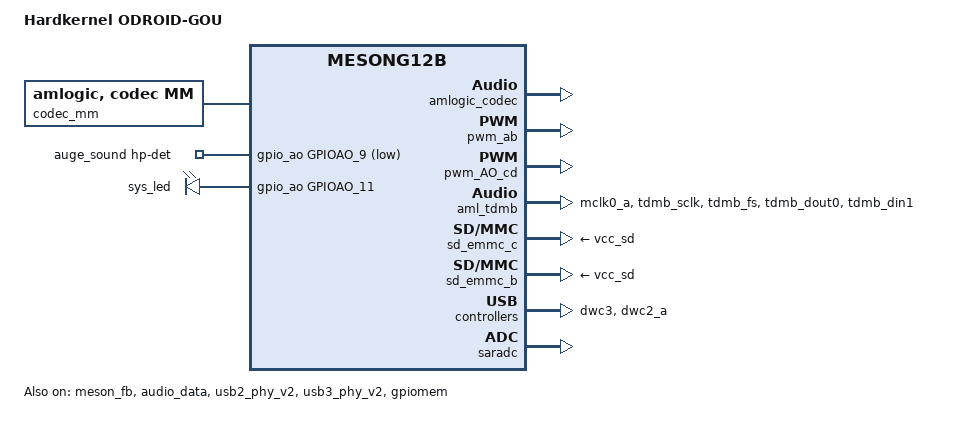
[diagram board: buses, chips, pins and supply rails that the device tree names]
/*
 * arch/arm64/boot/dts/amlogic/meson64_odroidgo5.dts
 *
 * Copyright (C) 2020 Hardkernel Co., Ltd. All rights reserved.
 *
 * This program is free software; you can redistribute it and/or modify
 * it under the terms of the GNU General Public License as published by
 * the Free Software Foundation; either version 2 of the License, or
 * (at your option) any later version.
 *
 * This program is distributed in the hope that it will be useful, but WITHOUT
 * ANY WARRANTY; without even the implied warranty of MERCHANTABILITY or
 * FITNESS FOR A PARTICULAR PURPOSE.  See the GNU General Public License for
 * more details.
 *
 */

/dts-v1/;

#include "mesong12b.dtsi"
#include "meson64_gou_pmic.dtsi"
#include "meson64_gou_panel.dtsi"
#include "meson64_gou_joypad.dtsi"

/ {
	model = "Hardkernel ODROID-GOU";
	compatible = "amlogic, g12b";
	interrupt-parent = <&gic>;
	#address-cells = <2>;
	#size-cells = <2>;

	chosen { };

	aliases {
		serial0 = &uart_AO;
		serial1 = &uart_A;
		serial2 = &uart_B;
		serial3 = &uart_C;
		serial4 = &uart_AO_B;
		i2c0 = &i2c_AO;
		i2c1 = &i2c1;
		i2c2 = &i2c2;
		i2c3 = &i2c3;
		tsensor0 = &p_tsensor;
		tsensor1 = &d_tsensor;
	};

	gpiomem {
		compatible = "amlogic, gpiomem";
		reg = <0x0 0xff634000 0x0 0x1000>,	/* GPIO banks */
			<0x0 0xff800000 0x0 0x1000>;	/* GPIO_AO bank */
		status = "okay";
	};

	reserved-memory {
		#address-cells = <2>;
		#size-cells = <2>;
		ranges;
		/* global autoconfigured region for contiguous allocations */
		ramoops@0x07400000 {
			compatible = "ramoops";
			reg = <0x0 0x07400000 0x0 0x00100000>;
			record-size = <0x8000>;
			console-size = <0x8000>;
			ftrace-size = <0x40000>;
		};

		secmon_reserved:linux,secmon {
			compatible = "shared-dma-pool";
			reusable;
			size = <0x0 0x400000>;
			alignment = <0x0 0x400000>;
			alloc-ranges = <0x0 0x05000000 0x0 0x400000>;
			clear-map;
		};

		secos_reserved:linux,secos {
			status = "disable";
			compatible = "amlogic, aml_secos_memory";
			reg = <0x0 0x05300000 0x0 0x2000000>;
			no-map;
		};
		logo_reserved:linux,meson-fb {
			compatible = "shared-dma-pool";
			reusable;
			size = <0x0 0x800000>;
			alignment = <0x0 0x400000>;
			alloc-ranges = <0x0 0x3d800000 0x0 0x800000>;
		};
		ion_cma_reserved:linux,ion-dev {
			compatible = "shared-dma-pool";
			reusable;
			size = <0x0 0x8000000>;
			alignment = <0x0 0x400000>;
		};

		/*di CMA pool */
		di_cma_reserved:linux,di_cma {
			compatible = "shared-dma-pool";
			reusable;
			/* buffer_size = 3621952(yuv422 8bit)
			 *  | 4736064(yuv422 10bit)
			 *  | 4074560(yuv422 10bit full pack mode)
			 * 10x3621952=34.6M(0x23) support 8bit
			 * 10x4736064=45.2M(0x2e) support 12bit
			 * 10x4074560=40M(0x28) support 10bit
			 */
			size = <0x0 0x02800000>;
			alignment = <0x0 0x400000>;
		};
		/*  POST PROCESS MANAGER */
		ppmgr_reserved:linux,ppmgr {
			compatible = "shared-dma-pool";
			size = <0x0 0x0>;
		};

		codec_mm_cma:linux,codec_mm_cma {
			compatible = "shared-dma-pool";
			reusable;
			/* ion_codec_mm max can alloc size 80M*/
			size = <0x0 0x13400000>;
			alignment = <0x0 0x400000>;
			linux,contiguous-region;
			clear-map;
		};
		/* codec shared reserved */
		codec_mm_reserved:linux,codec_mm_reserved {
			compatible = "amlogic, codec-mm-reserved";
			size = <0x0 0x0>;
			alignment = <0x0 0x100000>;
			//no-map;
		};
	};

	codec_mm {
		compatible = "amlogic, codec, mm";
		memory-region = <&codec_mm_cma &codec_mm_reserved>;
		dev_name = "codec_mm";
		status = "okay";
	};

	ppmgr {
		compatible = "amlogic, ppmgr";
		memory-region = <&ppmgr_reserved>;
		dev_name = "ppmgr";
		status = "okay";
	};

	deinterlace {
		compatible = "amlogic, deinterlace";
		status = "okay";
		/* 0:use reserved; 1:use cma; 2:use cma as reserved */
		flag_cma = <1>;
		memory-region = <&di_cma_reserved>;
		interrupts = <0 46 1
				0 40 1>;
		interrupt-names = "pre_irq", "post_irq";
		clocks = <&clkc CLKID_VPU_CLKB_TMP_COMP>,
			<&clkc CLKID_VPU_CLKB_COMP>;
		clock-names = "vpu_clkb_tmp_composite",
			"vpu_clkb_composite";
		clock-range = <334 667>;
		/* buffer-size = <3621952>;(yuv422 8bit) */
		buffer-size = <4074560>;/*yuv422 fullpack*/
		/* reserve-iomap = "true"; */
		/* if enable nr10bit, set nr10bit-support to 1 */
		post-wr-support = <1>;
		nr10bit-support = <1>;
		nrds-enable = <1>;
		pps-enable = <1>;
	};

	ionvideo {
		compatible = "amlogic, ionvideo";
		dev_name = "ionvideo";
		status = "okay";
	};

	efuse: efuse{
		compatible = "amlogic, efuse";
		read_cmd = <0x82000030>;
		write_cmd = <0x82000031>;
		get_max_cmd = <0x82000033>;
		key = <&efusekey>;
		clocks = <&clkc CLKID_EFUSE>;
		clock-names = "efuse_clk";
		status = "okay";
	};

	efusekey:efusekey{
		keynum = <1>;
		key0 = <&key_0>;

		key_0: key_0 {
			keyname = "uuid";
			offset = <0>;
			size = <32>;
		};
	};//End efusekey

	amlvecm {
		compatible = "amlogic, vecm";
		dev_name = "aml_vecm";
		status = "okay";
		gamma_en = <0>;/*1:enabel ;0:disable*/
		wb_en = <0>;/*1:enabel ;0:disable*/
		cm_en = <0>;/*1:enabel ;0:disable*/
	};
	amdolby_vision {
		compatible = "amlogic, dolby_vision_g12a";
		dev_name = "aml_amdolby_vision_driver";
		status = "okay";
		tv_mode = <0>;/*1:enabel ;0:disable*/
	};

	/* Audio Related start */
	dummy_codec:dummy{
		#sound-dai-cells = <0>;
		compatible = "amlogic, aml_dummy_codec";
		status = "okay";
	};
	amlogic_codec:t9015{
		#sound-dai-cells = <0>;
		compatible = "amlogic, aml_codec_T9015";
		reg = <0x0 0xFF632000 0x0 0x2000>;
		is_auge_used = <1>; /* meson or auge chipset used */
		tdmout_index = <1>;
		status = "okay";
	};
	audio_effect:eqdrc{
		/*eq_enable = <1>;*/
		/*drc_enable = <1>;*/
		/*
		 * 0:tdmout_a
		 * 1:tdmout_b
		 * 2:tdmout_c
		 * 3:spdifout
		 * 4:spdifout_b
		 */
		eqdrc_module = <1>;
		/* max 0xf, each bit for one lane, usually one lane */
		lane_mask = <0x1>;
		/* max 0xff, each bit for one channel */
		channel_mask = <0x3>;
	};
	auge_sound {
		compatible = "amlogic, g12a-sound-card";
		aml-audio-card,name = "AML-AUGESOUND";
		aml-audio-card,effect = <&audio_effect>;
		aml-audio-card,hp-det-gpio = <&gpio_ao GPIOAO_9 GPIO_ACTIVE_LOW>;

		aml-audio-card,dai-link@0 {
			format = "i2s";
			mclk-fs = <256>;
			bitclock-master = <&aml_tdmb>;
			frame-master = <&aml_tdmb>;
			continuous-clock;
			cpu {
				sound-dai = <&aml_tdmb>;
				dai-tdm-slot-tx-mask = <1 1>;
				dai-tdm-slot-rx-mask = <1 1>;
				dai-tdm-slot-num = <2>;
				dai-tdm-slot-width = <32>;
				system-clock-frequency = <12288000>;
			};
			codec {
				sound-dai = <&rk817_codec>;
			};
		};
	};
	audiolocker: locker {
		compatible = "amlogic, audiolocker";
		clocks = <&clkaudio CLKID_AUDIO_LOCKER_OUT
				&clkaudio CLKID_AUDIO_LOCKER_IN
				&clkaudio CLKID_AUDIO_MCLK_D
				&clkaudio CLKID_AUDIO_MCLK_E
				&clkc CLKID_MPLL1
				&clkc CLKID_MPLL2>;
		clock-names = "lock_out", "lock_in", "out_src",
					"in_src", "out_calc", "in_ref";
		interrupts = <GIC_SPI 1 IRQ_TYPE_EDGE_RISING>;
		interrupt-names = "irq";
		frequency = <49000000>; /* pll */
		dividor = <49>; /* locker's parent */
		status = "okay";
	};
	/* Audio Related end */

	cpu_opp_table0: cpu_opp_table0 {
		compatible = "operating-points-v2";
		opp-shared;

		opp00 {
			opp-hz = /bits/ 64 <500000000>;
			opp-microvolt = <730000>;
		};
		opp01 {
			opp-hz = /bits/ 64 <667000000>;
			opp-microvolt = <730000>;
		};
		opp02 {
			opp-hz = /bits/ 64 <1000000000>;
			opp-microvolt = <760000>;
		};
		opp03 {
			opp-hz = /bits/ 64 <1200000000>;
			opp-microvolt = <780000>;
		};
		opp04 {
			opp-hz = /bits/ 64 <1398000000>;
			opp-microvolt = <810000>;
		};
		opp05 {
			opp-hz = /bits/ 64 <1512000000>;
			opp-microvolt = <860000>;
		};
		opp06 {
			opp-hz = /bits/ 64 <1608000000>;
			opp-microvolt = <900000>;
		};
		opp07 {
			opp-hz = /bits/ 64 <1704000000>;
			opp-microvolt = <960000>;
		};
		opp08 {
			opp-hz = /bits/ 64 <1800000000>;
			opp-microvolt = <1020000>;
		};
		opp09 {
			opp-hz = /bits/ 64 <1908000000>;
			opp-microvolt = <1030000>;
		};
		opp10 {
			opp-hz = /bits/ 64 <2016000000>;
			opp-microvolt = <1040000>;
		};
	};

	cpu_opp_table1: cpu_opp_table1 {
		compatible = "operating-points-v2";
		opp-shared;

		opp00 {
			opp-hz = /bits/ 64 <500000000>;
			opp-microvolt = <730000>;
		};
		opp01 {
			opp-hz = /bits/ 64 <667000000>;
			opp-microvolt = <730000>;
		};
		opp02 {
			opp-hz = /bits/ 64 <1000000000>;
			opp-microvolt = <730000>;
		};
		opp03 {
			opp-hz = /bits/ 64 <1200000000>;
			opp-microvolt = <750000>;
		};
		opp04 {
			opp-hz = /bits/ 64 <1398000000>;
			opp-microvolt = <770000>;
		};
		opp05 {
			opp-hz = /bits/ 64 <1512000000>;
			opp-microvolt = <770000>;
		};
		opp06 {
			opp-hz = /bits/ 64 <1608000000>;
			opp-microvolt = <780000>;
		};
		opp07 {
			opp-hz = /bits/ 64 <1704000000>;
			opp-microvolt = <790000>;
		};
		opp08 {
			opp-hz = /bits/ 64 <1800000000>;
			opp-microvolt = <830000>;
		};
		opp09 {
			opp-hz = /bits/ 64 <1908000000>;
			opp-microvolt = <860000>;
		};
		opp10 {
			opp-hz = /bits/ 64 <2016000000>;
			opp-microvolt = <910000>;
		};
		opp11 {
			opp-hz = /bits/ 64 <2100000000>;
			opp-microvolt = <960000>;
		};
		opp12 {
			opp-hz = /bits/ 64 <2208000000>;
			opp-microvolt = <1030000>;
		};
		opp13 {
			opp-hz = /bits/ 64 <2304000000>;
			opp-microvolt = <1030000>;
		};
		opp14 {
			opp-hz = /bits/ 64 <2400000000>;
			opp-microvolt = <1040000>;
		};
	};

	cpufreq-meson {
		compatible = "amlogic, cpufreq-meson";
		status = "okay";
	};

	gpio_keypad {
		compatible = "amlogic, gpio_keypad";
		status = "disabled";
		scan_period = <20>;
		key_num = <1>;
		key_name = "power";
		key_code = <116>;
	};

	leds {
		compatible = "gpio-leds";
		status = "okay";
		sys_led {
			label="sys_led";
			gpios=<&gpio_ao GPIOAO_11 GPIO_ACTIVE_HIGH>;
			linux,default-trigger = "heartbeat";
		};
	};
}; /* end of / */

&meson_fb {
	status = "okay";
	display_size_default = <1920 1080 1920 2160 32>;
	mem_size = <0x00800000 0x4b80000 0x100000 0x100000 0x800000>;
	logo_addr = "0x3d800000";
	mem_alloc = <1>;
	pxp_mode = <0>; /** 0:normal mode 1:pxp mode */
};

&pwm_ab {
	status = "okay";
};

&pwm_AO_cd {
	status = "okay";
};

&audiobus {
	/* tdmb to internal DAC output*/
	aml_tdmb: tdmb {
		compatible = "amlogic, g12a-snd-tdmb";
		#sound-dai-cells = <0>;
		dai-tdm-lane-slot-mask-in = <0 1 0 0>;
		dai-tdm-lane-slot-mask-out = <1 0 0 0>;
		dai-tdm-clk-sel = <1>;
		clocks = <&clkaudio CLKID_AUDIO_MCLK_B
				&clkc CLKID_MPLL0>;
		clock-names = "mclk", "clk_srcpll";
		pinctrl-names = "tdm_pins";
		pinctrl-0 = <&tdmb_mclk &tdmout_b &tdmin_b>;
		mclk_pad = <0>;  /* 0: mclk_0; 1: mclk_1 */
		i2s2hdmi = <0>;
	};
	aml_spdif: spdif {
		compatible = "amlogic, g12a-snd-spdif-a";
		#sound-dai-cells = <0>;
		clocks = <&clkc CLKID_MPLL0
				&clkc CLKID_FCLK_DIV4
				&clkaudio CLKID_AUDIO_SPDIFIN
				&clkaudio CLKID_AUDIO_SPDIFOUT
				&clkaudio CLKID_AUDIO_SPDIFIN_CTRL
				&clkaudio CLKID_AUDIO_SPDIFOUT_CTRL>;
		clock-names = "sysclk", "fixed_clk", "gate_spdifin",
				"gate_spdifout", "clk_spdifin", "clk_spdifout";
		interrupts =
				<GIC_SPI 151 IRQ_TYPE_EDGE_RISING>;

		interrupt-names = "irq_spdifin";
		status = "disabled";
	};
	aml_spdif_b: spdif_b {
		compatible = "amlogic, g12a-snd-spdif-b";
		#sound-dai-cells = <0>;
		clocks = <&clkc CLKID_MPLL0 /*CLKID_HIFI_PLL*/
				&clkaudio CLKID_AUDIO_SPDIFOUTB
				&clkaudio CLKID_AUDIO_SPDIFOUTB_CTRL>;
		clock-names = "sysclk",
				"gate_spdifout", "clk_spdifout";
		status = "disabled";
	};
	aml_loopback: loopback {
		compatible = "amlogic, snd-loopback";
		/*
		 * 0: out rate = in data rate;
		 * 1: out rate = loopback data rate;
		 */
		lb_mode = <0>;

		/* datain src
		 * 0: tdmin_a;
		 * 1: tdmin_b;
		 * 2: tdmin_c;
		 * 3: spdifin;
		 * 4: pdmin;
		 */
		datain_src = <4>;
		datain_chnum = <8>;
		datain_chmask = <0x3f>;

		/* tdmin_lb src
		 * 0: tdmoutA
		 * 1: tdmoutB
		 * 2: tdmoutC
		 * 3: PAD_tdminA
		 * 4: PAD_tdminB
		 * 5: PAD_tdminC
		 */
		datalb_src = <2>;
		datalb_chnum = <8>;
		datalb_chmask = <0x3>;

		status = "disabled";
	};

	audioresample: resample {
		compatible = "amlogic, g12a-resample";
		clocks = <&clkc CLKID_MPLL3
				&clkaudio CLKID_AUDIO_MCLK_F
				&clkaudio CLKID_AUDIO_RESAMPLE_CTRL>;
		clock-names = "resample_pll", "resample_src", "resample_clk";
		/*same with toddr_src
		 *	TDMIN_A, 0
		 *	TDMIN_B, 1
		 *	TDMIN_C, 2
		 *	SPDIFIN, 3
		 *	PDMIN,  4
		 *	NONE,
		 *	TDMIN_LB, 6
		 *	LOOPBACK, 7
		 */
		resample_module = <4>;
		status = "disabled";
	};
	aml_pwrdet: pwrdet {
		compatible = "amlogic, g12a-power-detect";

		interrupts = <GIC_SPI 155 IRQ_TYPE_EDGE_RISING>;
		interrupt-names = "pwrdet_irq";

		/* pwrdet source sel
		 * 7: loopback;
		 * 6: tdmin_lb;
		 * 5: reserved;
		 * 4: pdmin;
		 * 3: spdifin;
		 * 2: tdmin_c;
		 * 1: tdmin_b;
		 * 0: tdmin_a;
		 */
		pwrdet_src = <4>;

		hi_th = <0x70000>;
		lo_th = <0x16000>;

		status = "disabled";
	};
}; /* end of audiobus */

&pinctrl_periphs {
	tdmb_mclk: tdmb_mclk {
		mux { /* GPIOA_0 */
			groups = "mclk0_a";
			function = "mclk0";
			drive-strength = <2>;
		};
	};
	tdmout_b: tdmout_b {
		mux { /* GPIOA_1, GPIOA_2, GPIOA_3 */
			groups = "tdmb_sclk",
				"tdmb_fs",
				"tdmb_dout0";
			function = "tdmb_out";
			drive-strength = <2>;
		};
	};
	tdmin_b:tdmin_b {
		mux { /* GPIOA_4 */
			groups = "tdmb_din1";
			function = "tdmb_in";
			drive-strength = <2>;
		};
	};

	bl_pwm_off_pins:bl_pwm_off_pin {
		mux {
			pins = "GPIOH_5";
			function = "gpio_periphs";
			output-high;
		};
	};

	clk12_24_z_pins:clk12_24_z_pins {
		mux {
			groups = "clk12_24_z";
			function = "clk12_24_ee";
			drive-strength = <3>;
		};
	};
}; /* end of pinctrl_periphs */

&audio_data {
	status = "okay";
};

&sd_emmc_c {
	status = "okay";
	mmc-ddr-1_8v;
	mmc-hs200-1_8v;
	vmmc-supply = <&vcc_sd>;
	vqmmc-supply = <&vddio_ao1v8>;
	emmc {
		caps = "MMC_CAP_8_BIT_DATA",
			 "MMC_CAP_MMC_HIGHSPEED",
			 "MMC_CAP_SD_HIGHSPEED",
			 "MMC_CAP_NONREMOVABLE",
			 "MMC_CAP_HW_RESET",
			 "MMC_CAP_ERASE",
			 "MMC_CAP_CMD23";
		caps2 = "MMC_CAP2_HS200_1_8V_SDR",
			"MMC_CAP2_BROKEN_VOLTAGE";
		f_min = <400000>;
		f_max = <200000000>;
		hw_reset = <&gpio BOOT_12 GPIO_ACTIVE_HIGH>;
	};
};

&sd_emmc_b {
	status = "okay";
	sd-uhs-sdr25;
	sd-uhs-sdr50;
	sd-uhs-sdr104;
	max-frequency = <200000000>;
	vmmc-supply = <&vcc_sd>;
	vqmmc-supply = <&vddio_c>;
	sd {
		caps = "MMC_CAP_4_BIT_DATA",
			 "MMC_CAP_MMC_HIGHSPEED",
			 "MMC_CAP_SD_HIGHSPEED",
			 "MMC_CAP_UHS_SDR25",
			 "MMC_CAP_UHS_SDR50",
			 "MMC_CAP_UHS_SDR104",
			 "MMC_CAP_ERASE",
			 "MMC_CAP_CMD23";
		f_min = <400000>;
		f_max = <200000000>;
	};
};

&usb2_phy_v2 {
	status = "okay";
	portnum = <2>;
};

&dwc3 {
	status = "okay";
};

&dwc2_a {
	status = "okay";
	/** 0: normal, 1: otg+dwc3 host only, 2: otg+dwc3 device only*/
	controller-type = <3>;
};

&pcie_A {
	reset-gpio = <&gpio GPIOX_7 GPIO_ACTIVE_HIGH>;
	status = "disabled";
};

&usb3_phy_v2 {
	status = "okay";
	portnum = <1>;
	otg = <1>;
};

&saradc {
	status = "okay";
};

&isp {
	status = "disabled";
};

&adapter {
	status = "disabled";
};

&amhdmitx {
	status = "disabled";
};

&aocec {
	status = "disabled";
};
